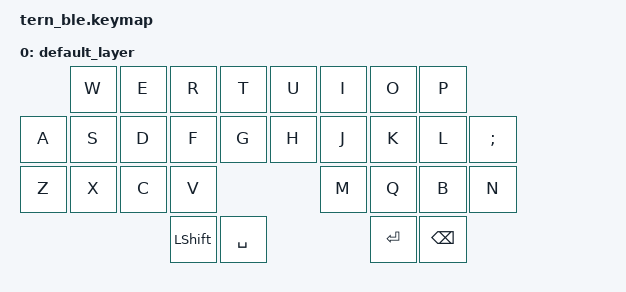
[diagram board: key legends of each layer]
#include <behaviors.dtsi>
#include <dt-bindings/zmk/keys.h>

/ {
  keymap {
    compatible = "zmk,keymap";

    default_layer {
      bindings = <
              &kp W &kp E &kp R &kp T  &kp U &kp I &kp O &kp P
        &kp A &kp S &kp D &kp F &kp G  &kp H &kp J &kp K &kp L &kp SCLN
        &kp Z &kp X &kp C &kp V              &kp M &kp Q &kp B &kp N
                            &kp LSHFT &kp SPACE  &kp RET &kp BACKSPACE
      >;
    };
  };
};
